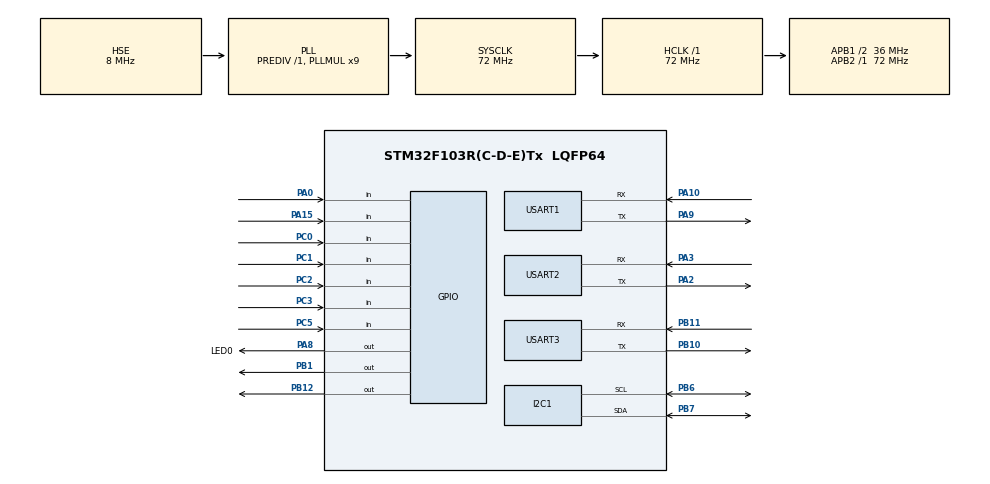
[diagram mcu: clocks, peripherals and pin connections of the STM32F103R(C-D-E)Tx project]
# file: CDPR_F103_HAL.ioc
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Dma.Request0=USART2_RX
Dma.USART2_RX.0.Direction=DMA_PERIPH_TO_MEMORY
Dma.USART2_RX.0.Instance=DMA1_Channel6
Dma.USART2_RX.0.MemDataAlignment=DMA_MDATAALIGN_BYTE
Dma.USART2_RX.0.MemInc=DMA_MINC_ENABLE
Dma.USART2_RX.0.Mode=DMA_CIRCULAR
Dma.USART2_RX.0.PeriphDataAlignment=DMA_PDATAALIGN_BYTE
Dma.USART2_RX.0.PeriphInc=DMA_PINC_DISABLE
Dma.USART2_RX.0.Priority=DMA_PRIORITY_LOW
I2C1.I2C_Mode=I2C_Fast
Mcu.Family=STM32F1
Mcu.Name=STM32F103R(C-D-E)Tx
Mcu.Package=LQFP64
NVIC.DMA1_Channel6_IRQn=true\:5\:0\:false\:false\:true\:true\:false\:true\:true
NVIC.PriorityGroup=NVIC_PRIORITYGROUP_4
NVIC.TIM2_IRQn=true\:5\:0\:false\:false\:true\:true\:true\:true\:true
NVIC.TimeBase=SysTick_IRQn
NVIC.TimeBaseIP=SYS
NVIC.USART2_IRQn=true\:5\:0\:false\:false\:true\:true\:true\:true\:true
NVIC.USART3_IRQn=true\:5\:0\:false\:false\:true\:true\:true\:true\:true
PA0-WKUP.GPIO_PuPd=GPIO_PULLDOWN
PA0-WKUP.Signal=GPIO_Input
PA10.Mode=Asynchronous
PA10.Signal=USART1_RX
PA13.Mode=Serial_Wire
PA13.Signal=SYS_JTMS-SWDIO
PA14.Mode=Serial_Wire
PA14.Signal=SYS_JTCK-SWCLK
PA15.GPIO_PuPd=GPIO_PULLUP
PA15.Signal=GPIO_Input
PA2.Mode=Asynchronous
PA2.Signal=USART2_TX
PA3.Mode=Asynchronous
PA3.Signal=USART2_RX
PA8.GPIO_Label=LED0
PA8.PinState=GPIO_PIN_SET
PA8.Signal=GPIO_Output
PA9.Mode=Asynchronous
PA9.Signal=USART1_TX
PB1.GPIO_ModeDefaultOutputPP=GPIO_MODE_OUTPUT_PP
PB1.PinState=GPIO_PIN_SET
PB1.Signal=GPIO_Output
PB10.Mode=Asynchronous
PB10.Signal=USART3_TX
PB11.Mode=Asynchronous
PB11.Signal=USART3_RX
PB12.Signal=GPIO_Output
PB6.Mode=I2C
PB6.Signal=I2C1_SCL
PB7.Mode=I2C
PB7.Signal=I2C1_SDA
PC0.GPIO_PuPd=GPIO_PULLUP
PC0.Signal=GPIO_Input
PC1.GPIO_PuPd=GPIO_PULLUP
PC1.Signal=GPIO_Input
PC2.GPIO_PuPd=GPIO_PULLUP
PC2.Signal=GPIO_Input
PC3.GPIO_PuPd=GPIO_PULLUP
PC3.Signal=GPIO_Input
PC5.GPIO_PuPd=GPIO_PULLUP
PC5.Signal=GPIO_Input
PD0-OSC_IN.Mode=HSE-External-Oscillator
PD0-OSC_IN.Signal=RCC_OSC_IN
PD1-OSC_OUT.Mode=HSE-External-Oscillator
PD1-OSC_OUT.Signal=RCC_OSC_OUT
ProjectManager.HeapSize=0x200
ProjectManager.StackSize=0x400
ProjectManager.TargetToolchain=CMake
RCC.AHBFreq_Value=72000000
RCC.APB1CLKDivider=RCC_HCLK_DIV2
RCC.APB1Freq_Value=36000000
RCC.APB1TimFreq_Value=72000000
RCC.APB2Freq_Value=72000000
RCC.APB2TimFreq_Value=72000000
RCC.HCLKFreq_Value=72000000
RCC.PLLMUL=RCC_PLL_MUL9
RCC.PLLSourceVirtual=RCC_PLLSOURCE_HSE
RCC.SYSCLKFreq_VALUE=72000000
RCC.SYSCLKSource=RCC_SYSCLKSOURCE_PLLCLK
RCC.USBFreq_Value=72000000
TIM2.AutoReloadPreload=TIM_AUTORELOAD_PRELOAD_ENABLE
TIM2.Period=999
TIM2.Prescaler=71
USART1.VirtualMode=VM_ASYNC
USART2.VirtualMode=VM_ASYNC
USART3.VirtualMode=VM_ASYNC
VP_TIM2_VS_ClockSourceINT.Mode=Internal
board=custom

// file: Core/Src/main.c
/* USER CODE BEGIN Header */
/**
  ******************************************************************************
  * @file           : main.c
  * @brief          : Main program body
  ******************************************************************************
  * @attention
  *
  * Copyright (c) 2026 STMicroelectronics.
  * All rights reserved.
  *
  * This software is licensed under terms that can be found in the LICENSE file
  * in the root directory of this software component.
  * If no LICENSE file comes with this software, it is provided AS-IS.
  *
  ******************************************************************************
  */
/* USER CODE END Header */
#include "main.h"
#include "dma.h"
#include "i2c.h"
#include "tim.h"
#include "usart.h"
#include "gpio.h"

/* USER CODE BEGIN Includes */
#include "task.h"
#include "vision.h"
#include "motor_test.h"
#include <math.h>
#include <stdio.h>
/* USER CODE END Includes */

/* USER CODE BEGIN PD */
#ifndef APP_VISION_DEBUG_TEST
#define APP_VISION_DEBUG_TEST 0   /* 1=只测试视觉串口; 调完视觉后改回0恢复任务流程 */
#endif
#ifndef APP_MOTOR_DEBUG_TEST
#define APP_MOTOR_DEBUG_TEST 0    /* 1=串口命令触发的低速电机测试 */
#endif
#ifndef APP_VISION_DEBUG_AUTO_TOTAL
#define APP_VISION_DEBUG_AUTO_TOTAL 0 /* 1=调试时自动请求 total; 默认用KEY0手动切换, 避免误锚定 */
#endif
#if APP_VISION_DEBUG_TEST && APP_MOTOR_DEBUG_TEST
#error "Select only one debug test mode"
#endif

/* USER CODE END PD */

void SystemClock_Config(void);

/* USER CODE BEGIN 0 */
#if APP_VISION_DEBUG_TEST
static void VisionDebug_PrintFixed10(float v)
{
    int32_t scaled = (v >= 0.0f) ? (int32_t)(v * 10.0f + 0.5f)
                                 : (int32_t)(v * 10.0f - 0.5f);
    if (scaled < 0) {
        printf("-");
        scaled = -scaled;
    }
    printf("%ld.%ld", (long)(scaled / 10), (long)(scaled % 10));
}

static void VisionDebug_PrintCoord(const char *tag, uint32_t count,
                                   float x, float y, uint32_t age_ms)
{
    printf("[%s] cnt=%lu x=", tag, (unsigned long)count);
    VisionDebug_PrintFixed10(x);
    printf(" y=");
    VisionDebug_PrintFixed10(y);
    printf(" age=%lums\r\n", (unsigned long)age_ms);
}

static uint32_t VisionDebug_Age(uint32_t now, uint32_t event_ms)
{
    return (event_ms <= now) ? (now - event_ms) : 0U;
}

static uint32_t VisionDebug_TimeDiff(uint32_t a, uint32_t b)
{
    return (a >= b) ? (a - b) : (b - a);
}

static const char *VisionDebug_ErrorName(vision_parse_error_t reason)
{
    switch (reason) {
    case VISION_PARSE_ERROR_EMPTY:          return "empty frame";
    case VISION_PARSE_ERROR_NO_START:       return "'#' without '$'";
    case VISION_PARSE_ERROR_RESTARTED:      return "new '$' before '#'";
    case VISION_PARSE_ERROR_TOO_LONG:       return "frame too long";
    case VISION_PARSE_ERROR_MISSING_FIELD:  return "missing field";
    case VISION_PARSE_ERROR_INVALID_NUMBER: return "invalid number";
    default:                                return "unknown parse error";
    }
}

static const char *VisionDebug_CircleName(float x, float y)
{
    const float tol = 3.0f;

    if (fabsf(x - 0.0f) <= tol && fabsf(y - 0.0f) <= tol) return "CENTER";
    if (fabsf(x + 20.0f) <= tol && fabsf(y - 20.0f) <= tol) return "TOP_LEFT";
    if (fabsf(x - 20.0f) <= tol && fabsf(y - 20.0f) <= tol) return "TOP_RIGHT";
    if (fabsf(x + 20.0f) <= tol && fabsf(y + 20.0f) <= tol) return "BOTTOM_LEFT";
    if (fabsf(x - 20.0f) <= tol && fabsf(y + 20.0f) <= tol) return "BOTTOM_RIGHT";
    return "UNKNOWN";
}

static void VisionDebug_PrintGlobalPair(uint32_t now)
{
    const uint32_t pair_max_ms = 250U;
    uint32_t pair_dt;

    if (g_vision.laser_count == 0U || g_vision.circle_count == 0U) {
        return;
    }

    pair_dt = VisionDebug_TimeDiff(g_vision.laser_ms, g_vision.circle_ms);
    if (pair_dt > pair_max_ms) {
        printf("[PAIR WAIT] laser/circle time gap=%lums, need <=%lums\r\n",
               (unsigned long)pair_dt, (unsigned long)pair_max_ms);
        return;
    }

    printf("[GLOBAL PAIR] circle=%s ref=(",
           VisionDebug_CircleName(g_vision.circle_x, g_vision.circle_y));
    VisionDebug_PrintFixed10(g_vision.circle_x);
    printf(",");
    VisionDebug_PrintFixed10(g_vision.circle_y);
    printf(") laser=(");
    VisionDebug_PrintFixed10(g_vision.laser_x);
    printf(",");
    VisionDebug_PrintFixed10(g_vision.laser_y);
    printf(") err=(");
    VisionDebug_PrintFixed10(g_vision.laser_x - g_vision.circle_x);
    printf(",");
    VisionDebug_PrintFixed10(g_vision.laser_y - g_vision.circle_y);
    printf(") pair_dt=%lums age=%lums\r\n",
           (unsigned long)pair_dt,
           (unsigned long)VisionDebug_Age(now, g_vision.last_valid_ms));
}

static void VisionDebug_SendTotalCommand(uint32_t now)
{
#if APP_VISION_DEBUG_AUTO_TOTAL
    static uint32_t last_cmd_ms = 0;

    if (last_cmd_ms == 0U || (now - last_cmd_ms) >= 3000U) {
        uint8_t ok = vision_send_mode("total");
        last_cmd_ms = now;
        printf("[CMD] &mode,total# %s\r\n", (ok != 0U) ? "sent" : "send_fail");
    }
#else
    (void)now;
#endif
}

static uint8_t VisionDebug_ButtonEdge(GPIO_TypeDef *port, uint16_t pin, uint8_t *last)
{
    uint8_t raw = (HAL_GPIO_ReadPin(port, pin) == GPIO_PIN_RESET) ? 1U : 0U;
    uint8_t edge = (raw != 0U && *last == 0U) ? 1U : 0U;
    *last = raw;
    return edge;
}

static void VisionDebug_Banner(void)
{
    printf("\r\n=== VISION DEBUG MODE ===\r\n");
    printf("PC debug: USART1 PA9/PA10, 115200 8N1\r\n");
    printf("MaixCAM : USART2 PA2(TX)->CAM_RX, PA3(RX)<-CAM_TX, 115200 8N1\r\n");
    printf("Expect  : $HB,n# $LASER,x,y# $HOME,dx,dy# $FIRE,x,y# $CIRCLE,x,y# $TILT,x,y#\r\n");
    printf("Mode   : power-up MaixCAM stays initial; press KEY0 near center circle to send &mode,total#\r\n");
    printf("Result  : [LINK OK]=connected, [NO RX]=wiring/baud, [DATA ERROR]=bad packet\r\n");
    printf("Notice  : motor/task/menu are disabled in this firmware\r\n\r\n");
}

static void VisionDebug_Task(void)
{
    static uint32_t last_stat_ms = 0;
    static uint32_t last_laser_count = 0;
    static uint32_t last_home_count = 0;
    static uint32_t last_fire_count = 0;
    static uint32_t last_circle_count = 0;
    static uint32_t last_tilt_count = 0;
    static uint32_t last_hb_count = 0;
    static uint32_t last_bad_count = 0;
    static uint32_t last_unknown_count = 0;
    static uint32_t last_uart_error_count = 0;
    static uint32_t last_pair_laser_count = 0;
    static uint32_t last_pair_circle_count = 0;
    static uint8_t last_key0 = 0U;

    uint32_t now = HAL_GetTick();

    VisionDebug_SendTotalCommand(now);

    if (VisionDebug_ButtonEdge(GPIOC, GPIO_PIN_5, &last_key0) != 0U) {
        uint8_t ok = vision_send_mode("total");
        printf("[CMD] KEY0 -> &mode,total# %s\r\n", (ok != 0U) ? "sent" : "send_fail");
    }

    if (g_vision.hb_count != last_hb_count) {
        last_hb_count = g_vision.hb_count;
        printf("[HB] cnt=%lu value=%d age=%lums, echoed to USART2\r\n",
               (unsigned long)g_vision.hb_count,
               g_vision.hb_value,
               (unsigned long)VisionDebug_Age(now, g_vision.last_rx_ms));
    }

    if (g_vision.laser_count != last_laser_count) {
        last_laser_count = g_vision.laser_count;
        g_vision.laser_fresh = 0;
        VisionDebug_PrintCoord("LASER", g_vision.laser_count,
                               g_vision.laser_x, g_vision.laser_y,
                               VisionDebug_Age(now, g_vision.laser_ms));
    }

    if (g_vision.home_count != last_home_count) {
        last_home_count = g_vision.home_count;
        g_vision.home_fresh = 0;
        VisionDebug_PrintCoord("HOME", g_vision.home_count,
                               g_vision.home_x, g_vision.home_y,
                               VisionDebug_Age(now, g_vision.home_ms));
    }

    if (g_vision.fire_count != last_fire_count) {
        last_fire_count = g_vision.fire_count;
        g_vision.fire_fresh = 0;
        VisionDebug_PrintCoord("FIRE", g_vision.fire_count,
                               g_vision.fire_x, g_vision.fire_y,
                               VisionDebug_Age(now, g_vision.fire_ms));
    }

    if (g_vision.circle_count != last_circle_count) {
        last_circle_count = g_vision.circle_count;
        g_vision.circle_fresh = 0;
        VisionDebug_PrintCoord("CIRCLE", g_vision.circle_count,
                               g_vision.circle_x, g_vision.circle_y,
                               VisionDebug_Age(now, g_vision.circle_ms));
    }

    if (g_vision.laser_count != last_pair_laser_count ||
        g_vision.circle_count != last_pair_circle_count) {
        last_pair_laser_count = g_vision.laser_count;
        last_pair_circle_count = g_vision.circle_count;
        VisionDebug_PrintGlobalPair(now);
    }

    if (g_vision.tilt_count != last_tilt_count) {
        last_tilt_count = g_vision.tilt_count;
        g_vision.tilt_fresh = 0;
        VisionDebug_PrintCoord("TILT", g_vision.tilt_count,
                               g_vision.tilt_x, g_vision.tilt_y,
                               VisionDebug_Age(now, g_vision.tilt_ms));
    }

    if (g_vision.bad_frame_count != last_bad_count) {
        last_bad_count = g_vision.bad_frame_count;
        printf("[DATA ERROR] bad=%lu reason=%s data=\"%s\"\r\n",
               (unsigned long)g_vision.bad_frame_count,
               VisionDebug_ErrorName(g_vision.last_bad_reason),
               g_vision.last_bad_frame);
    }

    if (g_vision.unknown_count != last_unknown_count) {
        last_unknown_count = g_vision.unknown_count;
        printf("[DATA ERROR] unknown_tag=%lu data=\"%s\"\r\n",
               (unsigned long)g_vision.unknown_count,
               g_vision.last_unknown_frame);
    }

    if (g_vision.uart_error_count != last_uart_error_count) {
        last_uart_error_count = g_vision.uart_error_count;
        printf("[UART2 ERROR] count=%lu HAL_error=0x%08lX\r\n",
               (unsigned long)g_vision.uart_error_count,
               (unsigned long)g_vision.last_uart_error);
    }

    if ((now - last_stat_ms) >= 1000U) {
        last_stat_ms = now;

        if (!g_vision.dma_started) {
            printf("[LINK ERROR] USART2 DMA start failed, HAL_status=%u\r\n",
                   (unsigned int)g_vision.dma_start_status);
        } else if (g_vision.rx_byte_count == 0U) {
            printf("[NO RX] USART2 received 0 bytes; check CAM_TX->PA3, GND and 115200 8N1\r\n");
        } else if (g_vision.valid_frame_count == 0U) {
            if (g_vision.frame_count == 0U) {
                printf("[LINK PARTIAL] bytes are arriving, but no complete $...# frame\r\n");
            } else {
                printf("[LINK PARTIAL] complete frames received, but none passed protocol validation\r\n");
            }
        } else if (vision_is_online(1500U)) {
            printf("[LINK OK] valid vision data is active\r\n");
        } else {
            printf("[LINK TIMEOUT] bytes may arrive, but no valid frame for %lums\r\n",
                   (unsigned long)(now - g_vision.last_valid_ms));
        }

        printf("[STAT] dma=%u rx=%lu frame=%lu valid=%lu bad=%lu unknown=%lu uart_err=%lu "
               "hb=%lu laser=%lu home=%lu fire=%lu circle=%lu tilt=%lu "
               "byte_age=%lu valid_age=%lu\r\n",
               (unsigned int)g_vision.dma_started,
               (unsigned long)g_vision.rx_byte_count,
               (unsigned long)g_vision.frame_count,
               (unsigned long)g_vision.valid_frame_count,
               (unsigned long)g_vision.bad_frame_count,
               (unsigned long)g_vision.unknown_count,
               (unsigned long)g_vision.uart_error_count,
               (unsigned long)g_vision.hb_count,
               (unsigned long)g_vision.laser_count,
               (unsigned long)g_vision.home_count,
               (unsigned long)g_vision.fire_count,
               (unsigned long)g_vision.circle_count,
               (unsigned long)g_vision.tilt_count,
               (unsigned long)VisionDebug_Age(now, g_vision.last_byte_ms),
               (unsigned long)VisionDebug_Age(now, g_vision.last_valid_ms));

        if (g_vision.home_count != 0U && g_vision.laser_count == 0U) {
            printf("[MODE CHECK] Only HOME is arriving: MaixCAM is still initial. Put laser near center circle, then press KEY0 for total.\r\n");
        }
    }
}
#endif

/* USER CODE END 0 */

int main(void)
{
  /* USER CODE BEGIN 1 */
  uint32_t reset_flags = RCC->CSR;
  /* USER CODE END 1 */

  /* MCU Configuration--------------------------------------------------------*/

  /* Reset of all peripherals, Initializes the Flash interface and the Systick. */
  HAL_Init();

  /* Configure the system clock */
  SystemClock_Config();

  /* Initialize all configured peripherals */
  MX_GPIO_Init();
  MX_DMA_Init();
  MX_I2C1_Init();
  MX_USART1_UART_Init();
  MX_USART2_UART_Init();
  MX_USART3_UART_Init();
  MX_TIM2_Init();
  /* USER CODE BEGIN 2 */
  setvbuf(stdout, NULL, _IONBF, 0);
  printf("\r\n[BOOT] CDPR backup-current app start Q2-CAL-JOG-v12-Q3-TXDMA1-MENU3\r\n");
  printf("RESET csr=0x%08lX pin=%u por=%u sw=%u iwdg=%u wwdg=%u lpwr=%u\r\n",
         (unsigned long)reset_flags,
         (unsigned int)((reset_flags & RCC_CSR_PINRSTF) != 0U),
         (unsigned int)((reset_flags & RCC_CSR_PORRSTF) != 0U),
         (unsigned int)((reset_flags & RCC_CSR_SFTRSTF) != 0U),
         (unsigned int)((reset_flags & RCC_CSR_IWDGRSTF) != 0U),
         (unsigned int)((reset_flags & RCC_CSR_WWDGRSTF) != 0U),
         (unsigned int)((reset_flags & RCC_CSR_LPWRRSTF) != 0U));
  __HAL_RCC_CLEAR_RESET_FLAGS();
  vision_init();      /* 要用视觉才加; 需 USART2+DMA 已初始化 */
#if APP_MOTOR_DEBUG_TEST
  MotorTest_Init();
#elif APP_VISION_DEBUG_TEST
  VisionDebug_Banner();
#else
  Task_Init();        /* 先显示 HOME; 视觉回中心成功后再进入菜单 */
#endif
  /* USER CODE END 2 */

  /* Infinite loop */
  while (1)
  {

      /* USER CODE BEGIN 3 */
#if APP_MOTOR_DEBUG_TEST
      vision_task();
      MotorTest_Loop();
#elif APP_VISION_DEBUG_TEST
      vision_task(); /* 收到 $HB,n# 时原样回发给 MaixCAM */
      VisionDebug_Task();
      HAL_Delay(5);
#else
      Task_Loop();
      vision_task(); /* 视觉心跳回发($HB), 现在用视觉, 必须开 */
#endif
  }

  /* USER CODE END 3 */
}

void SystemClock_Config(void)
{
  RCC_OscInitTypeDef RCC_OscInitStruct = {0};
  RCC_ClkInitTypeDef RCC_ClkInitStruct = {0};

  /** Initializes the RCC Oscillators according to the specified parameters
  * in the RCC_OscInitTypeDef structure.
  */
  RCC_OscInitStruct.OscillatorType = RCC_OSCILLATORTYPE_HSE;
  RCC_OscInitStruct.HSEState = RCC_HSE_ON;
  RCC_OscInitStruct.HSEPredivValue = RCC_HSE_PREDIV_DIV1;
  RCC_OscInitStruct.HSIState = RCC_HSI_ON;
  RCC_OscInitStruct.PLL.PLLState = RCC_PLL_ON;
  RCC_OscInitStruct.PLL.PLLSource = RCC_PLLSOURCE_HSE;
  RCC_OscInitStruct.PLL.PLLMUL = RCC_PLL_MUL9;
  if (HAL_RCC_OscConfig(&RCC_OscInitStruct) != HAL_OK)
  {
    Error_Handler();
  }

  /** Initializes the CPU, AHB and APB buses clocks
  */
  RCC_ClkInitStruct.ClockType = RCC_CLOCKTYPE_HCLK|RCC_CLOCKTYPE_SYSCLK
                              |RCC_CLOCKTYPE_PCLK1|RCC_CLOCKTYPE_PCLK2;
  RCC_ClkInitStruct.SYSCLKSource = RCC_SYSCLKSOURCE_PLLCLK;
  RCC_ClkInitStruct.AHBCLKDivider = RCC_SYSCLK_DIV1;
  RCC_ClkInitStruct.APB1CLKDivider = RCC_HCLK_DIV2;
  RCC_ClkInitStruct.APB2CLKDivider = RCC_HCLK_DIV1;

  if (HAL_RCC_ClockConfig(&RCC_ClkInitStruct, FLASH_LATENCY_2) != HAL_OK)
  {
    Error_Handler();
  }
}

/* USER CODE BEGIN 4 */
int __io_putchar(int ch)
{
    uint8_t byte = (uint8_t)ch;
    return (HAL_UART_Transmit(&huart1, &byte, 1, 10) == HAL_OK) ? ch : EOF;
}
/* USER CODE END 4 */

void Error_Handler(void)
{
  __disable_irq();
  while (1)
  {
  }
}
